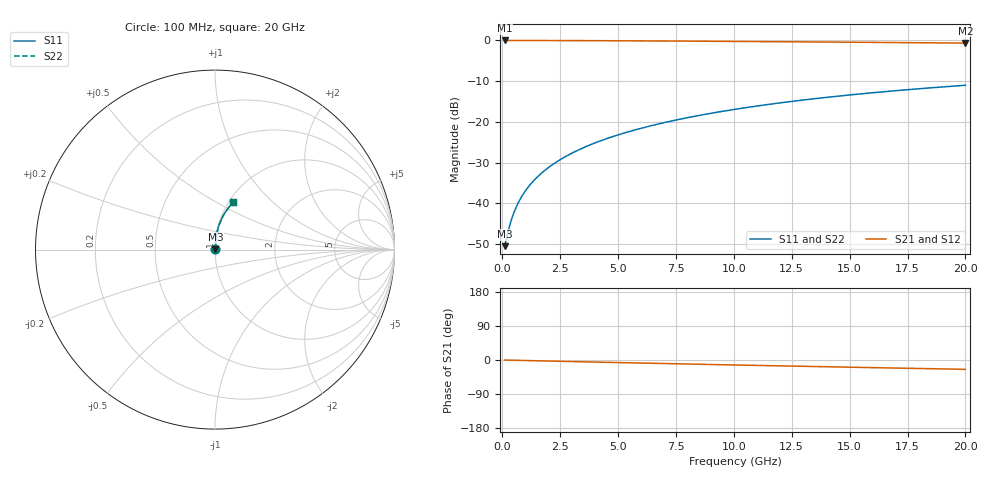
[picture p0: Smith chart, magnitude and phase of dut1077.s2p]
! Touchstone file exported from HFSS 2024.1.0
!  File:  C:/UserFiles/LocalFiles/RDL_TSV_Batchsim/temp_RDL_top_1077_1780045433.aedt
!  Generated:  05:05:57 PM May 29, 2026
!  Design:  RDL_top
!  Project:  temp_RDL_top_1077_1780045433
!  Setup:  Setup1
!  Solution:  Sweep
! Variables:
!  dtsv = 10.80580581um
!  hbump = 3um
!  htsv = 99.95um
!  ldown = 100um
!  lrdl = 294.58um
!  p = 40
!  p1 = 48.48um
!  rhole = 1um
!  t = 450um
!  tdown = 3.915915916um
!  trdl = 2.53um
!  wdown = 15.38538539um
!  wrdl = 17.56um
# GHz S MA R 50.000000
! Terminal data exported
! Port[1] = Box2_T1
! Port[2] = Box2_T2
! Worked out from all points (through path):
!   200 points, 100 MHz to 20 GHz, reference 50 ohm
!   highest |S21| = -0.02 dB at 100 MHz (marker M1); lowest = -0.7 dB at 20 GHz (marker M2)
!   group delay of S21, straight-line fit = 3.41 ps
!   lowest |S11| = -50.5 dB at 100 MHz (marker M3), VSWR 1.01, Z = 50.3 + j0.146 ohm
!   |S11| at or under -10 dB: start of sweep to end of sweep
!   |S22| runs from -50.5 to -11.0 dB; largest |S21 - S12| = 3.2e-15
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0.1  0.002988 29.1  0.9974 -0.1  0.9974 -0.1  0.002988 29.1
! Gamma 0 0 0 0
! Port Impedance 50 0 50 0
0.3  0.005105 58.1  0.9973 -0.4  0.9973 -0.4  0.005105 58.0
0.4  0.006375 64.3  0.9972 -0.6  0.9972 -0.6  0.006375 64.3
0.5  0.00768 68.3  0.9971 -0.7  0.9971 -0.7  0.00768 68.3
0.6  0.008997 71.1  0.997 -0.9  0.997 -0.9  0.008997 71.1
0.8  0.01164 74.8  0.9968 -1.1  0.9968 -1.1  0.01164 74.8
1.1  0.01561 78.0  0.9965 -1.5  0.9965 -1.5  0.01561 78.0
1.5  0.02092 80.5  0.996 -2.1  0.996 -2.1  0.02092 80.5
1.8  0.02494 81.7  0.9957 -2.5  0.9957 -2.5  0.02494 81.7
2.1  0.02898 82.5  0.9952 -2.9  0.9952 -2.9  0.02898 82.5
2.7  0.03714 83.5  0.9942 -3.7  0.9942 -3.7  0.03714 83.5
3.5  0.04817 84.1  0.9926 -4.8  0.9926 -4.8  0.04817 84.1
4.2  0.05795 84.3  0.9909 -5.7  0.9909 -5.7  0.05795 84.3
5  0.06926 84.2  0.9888 -6.8  0.9888 -6.8  0.06926 84.2
5.9  0.08215 83.8  0.986 -8.0  0.986 -8.0  0.08215 83.8
6.8  0.09517 83.2  0.983 -9.1  0.983 -9.1  0.09517 83.2
8.4  0.1185 81.9  0.9772 -11.1  0.9772 -11.1  0.1185 81.9
10.1  0.1434 80.3  0.9705 -13.2  0.9705 -13.2  0.1434 80.3
11.7  0.1668 78.5  0.9639 -15.2  0.9639 -15.2  0.1668 78.5
13.4  0.1913 76.6  0.9566 -17.2  0.9566 -17.2  0.1913 76.6
16.7  0.2375 72.8  0.9417 -21.0  0.9417 -21.0  0.2375 72.8
20  0.2814 69.0  0.926 -24.6  0.926 -24.6  0.2814 69.0
